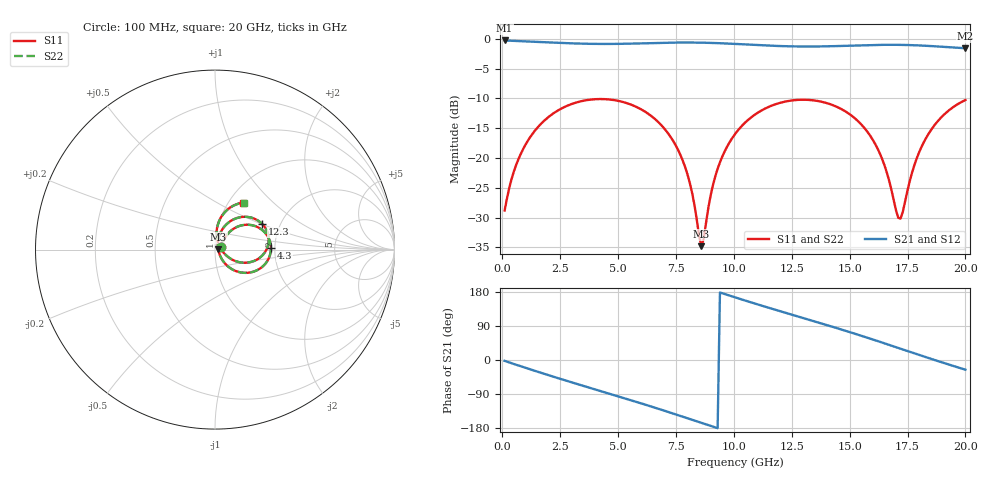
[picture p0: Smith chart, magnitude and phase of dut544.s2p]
! Touchstone file exported from HFSS 2026.1.0
!  File:  C:/ffzhzh/LocalFiles/Ansys_Project_Files/temp_train_TSV_RDL_544_1783113959_35180.aedt
!  Generated:  05:37:04 AM Jul  4, 2026
!  Design:  TSV_RDL
!  Project:  temp_train_TSV_RDL_544_1783113959_35180
! Variables:
!  h_bsmrdl = 3.32um
!  h_ox = 20um
!  h_rdl = 5um
!  h_sub = 53.86um
!  h_tmrdl = 4.14um
!  h_tsv = 53.86um
!  h_via = 3um
!  l_bsmrdl = 930.7um
!  l_sub = 6704.08um
!  l_tmrdl = 849.69um
!  m_sub = 200um
!  pitch = 29.98um
!  r_tsv = 9.21um
!  s_tmrdl = 10um
!  w_bsmrdl = 22.64um
!  w_sub = 500um
!  w_tmrdl = 15.1um
!  x_tsv_center1 = 857.24um
!  x_tsv_center2 = 1810.58um
!  x_tsv_center3 = 2675.37um
!  x_tsv_center4 = 3628.71um
!  x_tsv_center5 = 4493.5um
!  x_tsv_center6 = 5446.84um
# GHz S MA R 50.000000
! Terminal data exported
! Port[1] = TM_RDL1_1_T1
! Port[2] = TM_RDL5_1_T1
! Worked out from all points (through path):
!   200 points, 100 MHz to 20 GHz, reference 50 ohm
!   highest |S21| = -0.29 dB at 100 MHz (marker M1); lowest = -1.6 dB at 20 GHz (marker M2)
!   group delay of S21, straight-line fit = 53.2 ps
!   lowest |S11| = -34.8 dB at 8.6 GHz (marker M3), VSWR 1.04, Z = 51.8 + j0.193 ohm
!   |S11| at or under -10 dB: start of sweep to end of sweep
!   |S22| runs from -34.8 to -10.1 dB; largest |S21 - S12| = 1.6e-14
!   S11 on the Smith chart (normalised r, x): 100 MHz: 1.07, +0.03; 4.3 GHz: 1.91, +0.03; 12.3 GHz: 1.61, +0.51; 20 GHz: 1.17, +0.67
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0.1  0.03623 22.8  0.967 -2.2  0.967 -2.2  0.03623 22.8
! Gamma 0 0 0 0
! Port Impedance 50 0 50 0
0.6  0.08748 50.1  0.9566 -12.6  0.9566 -12.6  0.08748 50.1
1.3  0.1588 47.9  0.9448 -26.5  0.9448 -26.5  0.1588 47.9
2.3  0.2431 34.2  0.9262 -45.9  0.9262 -45.9  0.2431 34.2
3.5  0.3018 14.7  0.9085 -68.3  0.9085 -68.3  0.3018 14.7
4.3  0.3119 1.3  0.9039 -82.9  0.9039 -82.9  0.3119 1.3
5.6  0.278 -20.8  0.9098 -106.9  0.9098 -106.9  0.278 -20.8
6.8  0.1944 -41.1  0.9225 -129.9  0.9225 -129.9  0.1944 -41.1
7.9  0.08344 -54.8  0.9292 -151.7  0.9292 -151.7  0.08343 -54.8
8.2  0.05072 -52.2  0.9289 -157.8  0.9289 -157.8  0.05071 -52.2
8.6  0.01819 5.9  0.9267 -165.8  0.9267 -165.8  0.01818 5.9
9.2  0.07022 72.6  0.9199 -177.9  0.9199 -177.9  0.07022 72.7
10.1  0.1631 64.3  0.9036 164.4  0.9036 164.4  0.1631 64.3
12.3  0.2991 28.7  0.8645 123.3  0.8645 123.3  0.2991 28.7
13.4  0.3047 10.7  0.8604 103.5  0.8604 103.5  0.3047 10.8
15.5  0.1913 -22.4  0.8807 64.1  0.8807 64.1  0.1913 -22.3
16.2  0.1206 -30.0  0.8876 50.2  0.8876 50.2  0.1207 -29.7
16.7  0.06519 -26.3  0.8896 40.0  0.8896 40.0  0.06547 -25.7
17.2  0.03101 36.0  0.8882 29.8  0.8882 29.8  0.03177 35.8
17.8  0.08744 84.2  0.8817 17.5  0.8817 17.5  0.08778 83.7
18.3  0.1468 83.1  0.8726 7.4  0.8726 7.4  0.147 82.8
20  0.3058 58.8  0.8321 -25.6  0.8321 -25.6  0.3059 58.6
